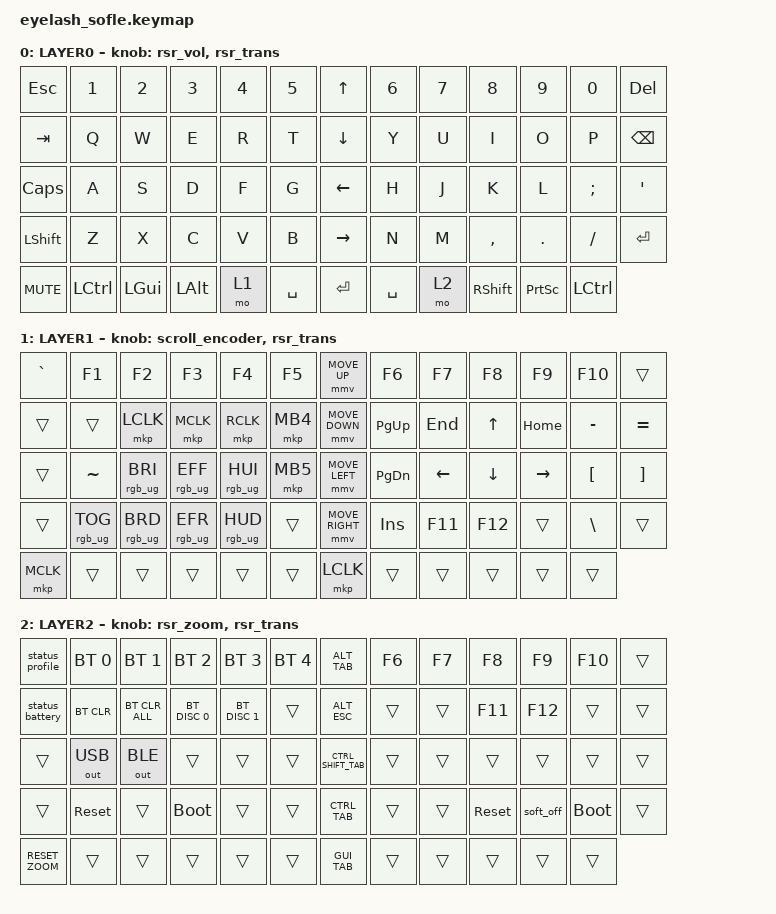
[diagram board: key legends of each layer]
/*
 * Sofle user keymap.
 *
 * Each binding row is ordered left-to-right as: six left keys, one joystick
 * direction/click, then six right keys. The fifth row contains the thumbs
 * and the joystick click. `&trans` inherits the binding from the next active
 * layer, which keeps unassigned function-layer keys usable.
 */
#define ZMK_POINTING_DEFAULT_MOVE_VAL 1200
#define ZMK_POINTING_DEFAULT_SCRL_VAL 25

#include <input/processors.dtsi>
#include <zephyr/dt-bindings/input/input-event-codes.h>
#include <behaviors.dtsi>
#include <behaviors/runtime-sensor-rotate.dtsi>
#include <dt-bindings/zmk/bt.h>
#include <dt-bindings/zmk/keys.h>
#include <dt-bindings/zmk/outputs.h>
#include <dt-bindings/zmk/pointing.h>
#include <dt-bindings/zmk/rgb.h>

&msc {
    acceleration-exponent = <1>;
    time-to-max-speed-ms = <100>;
    delay-ms = <0>;
};

/* Make joystick cursor movement accelerate smoothly rather than jump. */
&mmv {
    time-to-max-speed-ms = <500>;
    acceleration-exponent = <1>;
    trigger-period-ms = <16>;
};

/* Require a two-second hold before the deep-sleep behavior takes effect. */
&soft_off { hold-time-ms = <2000>; };

/ {
    scroll_encoder: scroll_encoder {
        /* Standard encoder behavior used where rotation should scroll. */
        compatible = "zmk,behavior-sensor-rotate";
        #sensor-binding-cells = <0>;
        bindings = <&msc SCRL_DOWN>, <&msc SCRL_UP>;

        tap-ms = <100>;
    };

    behaviors {
        status_profile: status_profile {
            compatible = "zmk,behavior-eyelash-status-led";
            #binding-cells = <0>;
            action = <0>;
        };

        status_battery: status_battery {
            compatible = "zmk,behavior-eyelash-status-led";
            #binding-cells = <0>;
            action = <1>;
        };

        rsr_vol: rsr_vol {
            /* Runtime-selectable encoder behavior for volume adjustment. */
            compatible = "zmk,behavior-runtime-sensor-rotate";
            #sensor-binding-cells = <0>;
            tap-ms = <5>;
            cw-binding = <&kp C_VOL_UP>;
            ccw-binding = <&kp C_VOL_DN>;
        };

        rsr_trans: rsr_trans {
            /* Preserve the active encoder behavior on transparent layers. */
            compatible = "zmk,behavior-runtime-sensor-rotate";
            #sensor-binding-cells = <0>;
            tap-ms = <0>;
        };

        rsr_zoom: rsr_zoom {
            /* Layer 2 converts encoder rotation to application zoom. */
            compatible = "zmk,behavior-runtime-sensor-rotate";
            #sensor-binding-cells = <0>;
            tap-ms = <5>;
            cw-binding = <&ZOOM_IN>;
            ccw-binding = <&ZOOM_OUT>;
        };
    };

    combos {
        compatible = "zmk,combos";

        softoff {
            /* Q + S + Z invokes the protected soft-off behavior above. */
            bindings = <&soft_off>;
            key-positions = <14 28 40>;
        };
    };

    macros {
        SHIFT_MCLK: SHIFT_MCLK {
            compatible = "zmk,behavior-macro";
            #binding-cells = <0>;
            bindings =
                <&macro_press>,
                <&kp LEFT_SHIFT>,
                <&macro_press>,
                <&mkp MB3>,
                <&macro_pause_for_release>,
                <&macro_release>,
                <&kp LEFT_SHIFT &mkp MB3>;
        };

        ALT_TAB: ALT_TAB {
            compatible = "zmk,behavior-macro";
            #binding-cells = <0>;
            bindings =
                <&macro_press>,
                <&kp LEFT_ALT>,
                <&macro_tap>,
                <&kp TAB>,
                <&macro_release>,
                <&kp LEFT_ALT>;
        };

        ALT_ESC: ALT_ESC {
            compatible = "zmk,behavior-macro";
            #binding-cells = <0>;
            bindings =
                <&macro_press>,
                <&kp LEFT_ALT>,
                <&macro_tap>,
                <&kp ESC>,
                <&macro_release>,
                <&kp LEFT_ALT>;
        };

        CTRL_TAB: CTRL_TAB {
            compatible = "zmk,behavior-macro";
            #binding-cells = <0>;
            bindings =
                <&macro_press>,
                <&kp LCTRL>,
                <&macro_tap>,
                <&kp TAB>,
                <&macro_release>,
                <&kp LCTRL>;
        };

        CTRL_SHIFT_TAB: CTRL_SHIFT_TAB {
            compatible = "zmk,behavior-macro";
            #binding-cells = <0>;
            bindings =
                <&macro_press>,
                <&kp LCTRL &kp LEFT_SHIFT>,
                <&macro_tap>,
                <&kp TAB>,
                <&macro_release>,
                <&kp LCTRL &kp LEFT_SHIFT>;
        };

        GUI_TAB: GUI_TAB {
            compatible = "zmk,behavior-macro";
            #binding-cells = <0>;
            bindings =
                <&macro_press>,
                <&kp LEFT_GUI>,
                <&macro_tap>,
                <&kp TAB>,
                <&macro_release>,
                <&kp LEFT_GUI>;
        };

        ZOOM_IN: ZOOM_IN {
            compatible = "zmk,behavior-macro";
            #binding-cells = <0>;
            bindings =
                <&macro_press>,
                <&kp LCTRL>,
                <&macro_tap>,
                <&kp PLUS>,
                <&macro_release>,
                <&kp LCTRL>;
        };

        ZOOM_OUT: ZOOM_OUT {
            compatible = "zmk,behavior-macro";
            #binding-cells = <0>;
            bindings =
                <&macro_press>,
                <&kp LCTRL>,
                <&macro_tap>,
                <&kp MINUS>,
                <&macro_release>,
                <&kp LCTRL>;
        };

        RESET_ZOOM: RESET_ZOOM {
            compatible = "zmk,behavior-macro";
            #binding-cells = <0>;
            bindings =
                <&macro_press>,
                <&kp LCTRL>,
                <&macro_tap>,
                <&kp N0>,
                <&macro_release>,
                <&kp LCTRL>;
        };

    };

    keymap {
        compatible = "zmk,keymap";

        layer0 {
            /* Base typing layer; the central column is the joystick. */
            bindings = <
                &kp ESC         &kp N1          &kp N2              &kp N3              &kp N4          &kp N5              &kp UP_ARROW        &kp N6          &kp N7          &kp N8           &kp N9     &kp N0              &kp DELETE
                &kp TAB         &kp Q           &kp W               &kp E               &kp R           &kp T               &kp DOWN_ARROW      &kp Y           &kp U           &kp I            &kp O      &kp P               &kp BACKSPACE
                &kp CAPS        &kp A           &kp S               &kp D               &kp F           &kp G               &kp LEFT_ARROW      &kp H           &kp J           &kp K            &kp L      &kp SEMI            &kp APOS
                &kp LSHFT       &kp Z           &kp X               &kp C               &kp V           &kp B               &kp RIGHT_ARROW     &kp N           &kp M           &kp COMMA        &kp DOT    &kp FSLH            &kp ENTER
                &kp C_MUTE      &kp LCTRL       &kp LEFT_GUI        &kp LEFT_ALT        &mo 1           &kp SPACE           &kp ENTER           &kp SPACE       &mo 2           &kp RIGHT_SHIFT  &kp PSCRN  &kp LCTRL
            >; 

            /* Encoder rotation controls volume on the base layer. */
            sensor-bindings = <&rsr_vol &rsr_trans>;
            display-name = "LAYER0";
        };

        layer_1 {
            /* Navigation, mouse, media, and RGB controls. */
            bindings = <
                &kp GRAVE       &kp F1           &kp F2             &kp F3              &kp F4           &kp F5             &mmv MOVE_UP        &kp F6           &kp F7         &kp F8          &kp F9       &kp F10            &trans
                &trans          &trans           &mkp LCLK          &mkp MCLK           &mkp RCLK        &mkp MB4           &mmv MOVE_DOWN      &kp PG_UP        &kp END        &kp UP          &kp HOME     &kp MINUS          &kp EQUAL
                &trans          &kp TILDE        &rgb_ug RGB_BRI    &rgb_ug RGB_EFF     &rgb_ug RGB_HUI  &mkp MB5           &mmv MOVE_LEFT      &kp PG_DN        &kp LEFT       &kp DOWN        &kp RIGHT    &kp LEFT_BRACKET    &kp RIGHT_BRACKET
                &trans          &rgb_ug RGB_TOG  &rgb_ug RGB_BRD    &rgb_ug RGB_EFR     &rgb_ug RGB_HUD  &trans             &mmv MOVE_RIGHT     &kp INSERT       &kp F11        &kp F12         &trans       &kp BSLH           &trans
                &mkp MCLK       &trans           &trans             &trans              &trans           &trans             &mkp LCLK           &trans           &trans         &trans          &trans       &trans
            >;

            /* Layer 1 encoder rotation scrolls; clicking sends middle-click. */
            sensor-bindings = <&scroll_encoder &rsr_trans>;
            display-name = "LAYER1";
        };

        layer_2 {
            /*
             * Connectivity and system controls. The joystick becomes a window
             * and tab switcher: up Alt+Tab, down Alt+Esc, right Ctrl+Tab,
             * left Ctrl+Shift+Tab, and click Win+Tab.
             */
            bindings = <
                &status_profile &bt BT_SEL 0    &bt BT_SEL 1        &bt BT_SEL 2      &bt BT_SEL 3      &bt BT_SEL 4        &ALT_TAB            &kp F6          &kp F7          &kp F8          &kp F9      &kp F10             &trans
                &status_battery &bt BT_CLR      &bt BT_CLR_ALL      &bt BT_DISC 0     &bt BT_DISC 1     &trans              &ALT_ESC            &trans          &trans          &kp F11         &kp F12     &trans              &trans
                &trans          &out OUT_USB    &out OUT_BLE        &trans            &trans            &trans              &CTRL_SHIFT_TAB     &trans          &trans          &trans          &trans      &trans              &trans
                &trans          &sys_reset      &trans              &bootloader       &trans            &trans              &CTRL_TAB           &trans          &trans          &sys_reset      &soft_off   &bootloader         &trans
                &RESET_ZOOM     &trans          &trans              &trans            &trans            &trans              &GUI_TAB            &trans          &trans          &trans          &trans      &trans
            >;

            display-name = "LAYER2";
            /* Layer 2 encoder rotation zooms; clicking resets application zoom. */
            sensor-bindings = <&rsr_zoom &rsr_trans>;
        };
    };
};
